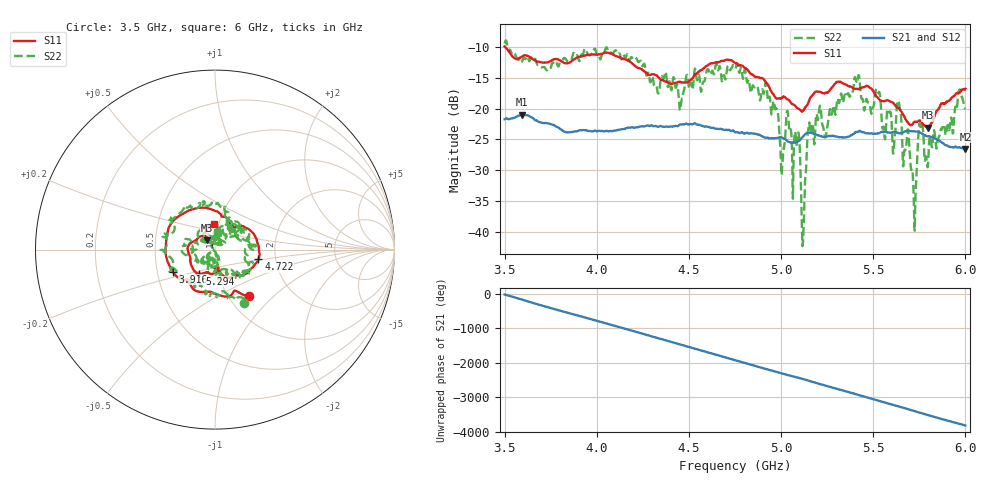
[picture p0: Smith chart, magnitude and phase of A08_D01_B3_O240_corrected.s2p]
! Created with skrf 1.9.0 (http://scikit-rf.org).
# Hz S RI R 50.0
!freq ReS11 ImS11 ReS21 ImS21 ReS12 ImS12 ReS22 ImS22
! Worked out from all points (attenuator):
!   1601 points, 3.5 GHz to 6 GHz, reference 50 ohm
!   highest |S21| = -21.00 dB at 3.592 GHz (marker M1); lowest = -26.6 dB at 6 GHz (marker M2)
!   lowest |S11| = -23.1 dB at 5.795 GHz (marker M3), VSWR 1.15, Z = 45.3 + j4.78 ohm
!   |S11| at or under -10 dB: 3.503 GHz to end of sweep
!   |S22| runs from -42.3 to -8.9 dB; largest |S21 - S12| = 0.0013
!   S11 on the Smith chart (normalised r, x): 3.5 GHz: 1.25, -0.71; 3.916 GHz: 0.60, -0.16; 4.722 GHz: 1.63, -0.19; 5.294 GHz: 0.81, -0.22; 6 GHz: 0.95, +0.28
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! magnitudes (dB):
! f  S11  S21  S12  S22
! 3.5 GHz  -9.9  -21.7  -21.7  -9.4
! 3.592 GHz  -11.6  -21.0  -21.0  -12.5
! 3.916 GHz  -11.5  -23.5  -23.5  -11.3
! 3.917 GHz  -11.5  -23.5  -23.5  -11.2
! 4.334 GHz  -14.9  -22.9  -22.9  -17.5
! 4.722 GHz  -12.1  -23.5  -23.5  -13.7
! 4.75 GHz  -12.6  -23.8  -23.8  -13.5
! 4.969 GHz  -18.2  -24.8  -24.8  -20.1
! 5.006 GHz  -18.2  -24.7  -24.7  -29.2
! 5.036 GHz  -18.5  -25.3  -25.3  -20.5
! 5.088 GHz  -19.9  -25.4  -25.4  -25.1
! 5.119 GHz  -20.3  -24.6  -24.5  -41.7
! 5.167 GHz  -17.9  -23.9  -23.9  -22.7
! 5.294 GHz  -15.9  -24.5  -24.5  -20.9
! 5.412 GHz  -16.8  -23.8  -23.8  -15.6
! 5.584 GHz  -18.7  -23.9  -23.9  -20.4
! 5.611 GHz  -19.1  -23.8  -23.7  -27.0
! 5.641 GHz  -20.0  -24.0  -24.0  -19.3
! 5.722 GHz  -22.2  -23.7  -23.7  -37.1
! 5.756 GHz  -22.0  -23.9  -23.9  -23.0
! 5.795 GHz  -23.1  -24.5  -24.5  -29.5
! 6 GHz  -16.8  -26.6  -26.5  -20.1
